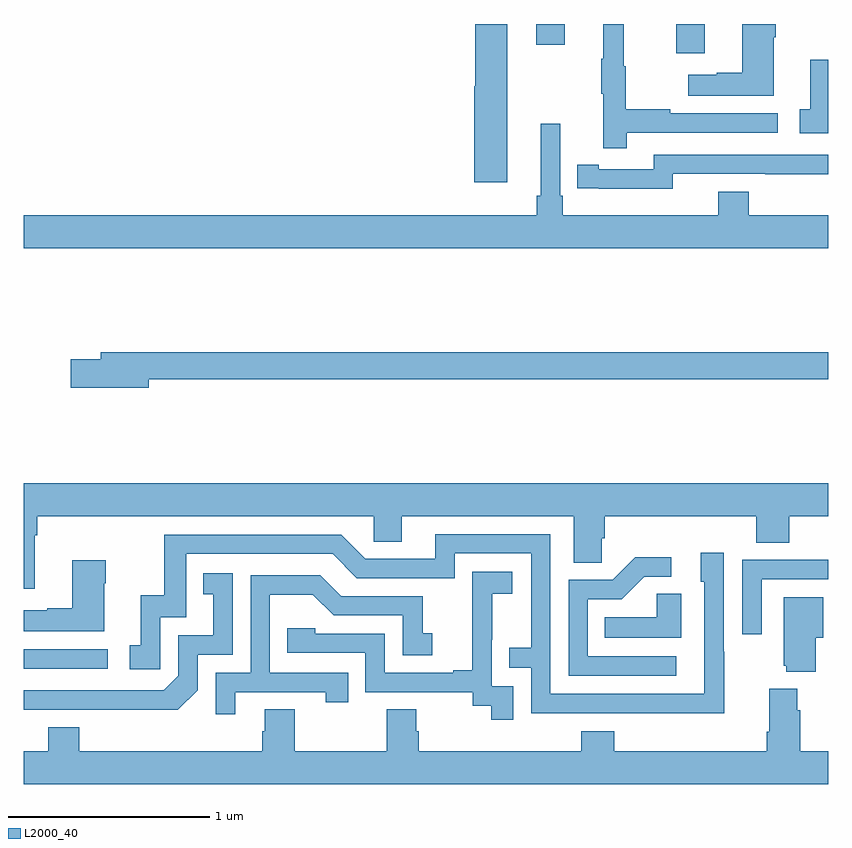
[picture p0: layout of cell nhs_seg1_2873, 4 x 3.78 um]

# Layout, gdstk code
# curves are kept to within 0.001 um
import gdstk
lib = gdstk.Library(unit=1e-6, precision=1e-09)
def R(c, l, rs):  # rectangles x0, y0, x1, y1
    for r in rs: c.add(gdstk.rectangle(r[:2], r[2:], *l))
def P(c, l, *ps):  # polygons
    for p in ps: c.add(gdstk.Polygon(p, *l))
L2000_40 = (2000, 40)

nhs_seg1_2873 = lib.new_cell('nhs_seg1_2873')
R(nhs_seg1_2873, L2000_40, [(267,530.994,267.418,531.09), (270.245,534.054,270.385,534.199), (269.549,534.096,269.689,534.199)])
P(nhs_seg1_2873, L2000_40, [(269.404,534.199),(269.246,534.199),(269.246,533.889),(269.24,533.889),(269.24,533.412),(269.404,533.412)],
  [(269.999,533.658),(270.748,533.658),(270.748,533.754),(270.215,533.754),(270.215,533.774),(269.992,533.774),(269.992,533.988),(269.984,533.988),(269.984,534.199),(269.882,534.199),(269.882,534.025),(269.871,534.025),(269.871,533.851),(269.882,533.851),(269.882,533.58),(269.999,533.58)],
  [(270.73,534.134),(270.738,534.134),(270.738,534.199),(270.572,534.199),(270.572,533.957),(270.446,533.957),(270.446,533.947),(270.303,533.947),(270.303,533.843),(270.73,533.843)],
  [(271,534.022),(270.911,534.022),(270.911,533.775),(270.858,533.775),(270.858,533.655),(271,533.655)],
  [(271,533.248),(270.605,533.248),(270.605,533.365),(270.452,533.365),(270.452,533.248),(269.681,533.248),(269.681,533.344),(269.667,533.344),(269.667,533.704),(269.57,533.704),(269.57,533.344),(269.551,533.344),(269.551,533.248),(267,533.248),(267,533.084),(271,533.084)],
  [(270.228,533.454),(270.688,533.454),(270.688,533.453),(271,533.453),(271,533.55),(270.132,533.55),(270.132,533.478),(269.86,533.478),(269.86,533.498),(269.752,533.498),(269.752,533.382),(269.86,533.382),(269.86,533.381),(270.228,533.381)],
  [(267.622,532.432),(271,532.432),(271,532.568),(267.383,532.568),(267.383,532.532),(267.234,532.532),(267.234,532.39),(267.622,532.39)],
  [(267.055,531.656),(267.068,531.656),(267.068,531.752),(268.74,531.752),(268.74,531.625),(268.879,531.625),(268.879,531.752),(269.735,531.752),(269.735,531.52),(269.874,531.52),(269.874,531.643),(269.888,531.643),(269.888,531.752),(270.641,531.752),(270.641,531.619),(270.806,531.619),(270.806,531.752),(271,531.752),(271,531.916),(267,531.916),(267,531.39),(267.055,531.39)],
  [(270.483,531.077),(270.48,531.077),(270.48,531.571),(270.365,531.571),(270.365,531.426),(270.384,531.426),(270.384,530.868),(269.619,530.868),(269.619,531.663),(269.045,531.663),(269.045,531.54),(268.698,531.54),(268.578,531.66),(267.699,531.66),(267.699,531.358),(267.581,531.358),(267.581,531.111),(267.528,531.111),(267.528,530.991),(267.678,530.991),(267.678,531.249),(267.807,531.249),(267.807,531.564),(268.536,531.564),(268.656,531.444),(269.142,531.444),(269.142,531.567),(269.523,531.567),(269.523,531.098),(269.413,531.098),(269.413,530.997),(269.523,530.997),(269.523,530.772),(270.483,530.771)],
  [(270.244,531.054),(269.805,531.054),(269.805,531.339),(269.974,531.339),(270.085,531.45),(270.22,531.45),(270.22,531.548),(270.041,531.548),(269.928,531.435),(269.709,531.435),(269.709,530.958),(270.244,530.958)],
  [(270.669,531.438),(271,531.438),(271,531.536),(270.889,531.536),(270.889,531.534),(270.573,531.534),(270.573,531.165),(270.669,531.165)],
  [(267.4,531.419),(267.408,531.419),(267.408,531.532),(267.242,531.532),(267.242,531.293),(267.116,531.293),(267.116,531.283),(267,531.283),(267,531.179),(267.4,531.179)],
  [(269.433,530.907),(269.328,530.907),(269.328,531.137),(269.33,531.137),(269.33,531.365),(269.428,531.365),(269.428,531.475),(269.23,531.475),(269.23,531.269),(269.231,531.269),(269.231,530.986),(269.135,530.986),(269.135,530.973),(268.794,530.973),(268.794,531.168),(268.449,531.168),(268.449,531.195),(268.309,531.195),(268.309,531.072),(268.698,531.072),(268.698,530.877),(269.232,530.877),(269.232,530.809),(269.325,530.809),(269.325,530.739),(269.433,530.739)],
  [(267.864,530.886),(267.864,531.063),(268.038,531.063),(268.038,531.469),(267.892,531.469),(267.892,531.363),(267.941,531.363),(267.941,531.159),(267.768,531.159),(267.768,530.958),(267.696,530.886),(267,530.886),(267,530.79),(267.766,530.789)],
  [(268.051,530.877),(268.502,530.877),(268.502,530.826),(268.613,530.826),(268.613,530.973),(268.224,530.973),(268.224,531.362),(268.438,531.362),(268.542,531.258),(268.884,531.258),(268.884,531.06),(269.032,531.06),(269.032,531.169),(268.983,531.169),(268.983,531.354),(268.579,531.354),(268.474,531.459),(268.128,531.459),(268.128,530.973),(267.954,530.973),(267.954,530.766),(268.051,530.766)],
  [(270.268,531.365),(270.147,531.365),(270.147,531.25),(269.89,531.25),(269.89,531.146),(270.268,531.146)],
  [(270.937,531.146),(270.976,531.146),(270.976,531.349),(270.779,531.349),(270.779,531.009),(270.791,531.009),(270.791,530.978),(270.937,530.978)],
  [(271,530.584),(270.86,530.584),(270.86,530.786),(270.847,530.786),(270.847,530.893),(270.707,530.893),(270.707,530.68),(270.695,530.68),(270.695,530.584),(269.936,530.584),(269.936,530.683),(269.771,530.683),(269.771,530.584),(268.964,530.584),(268.964,530.682),(268.951,530.682),(268.951,530.792),(268.804,530.792),(268.804,530.584),(268.347,530.584),(268.347,530.792),(268.199,530.792),(268.199,530.682),(268.187,530.682),(268.187,530.584),(267.275,530.584),(267.275,530.701),(267.122,530.701),(267.122,530.584),(267,530.584),(267,530.42),(271,530.42)])

lib.write_gds('nhs_seg1_2873.gds')
